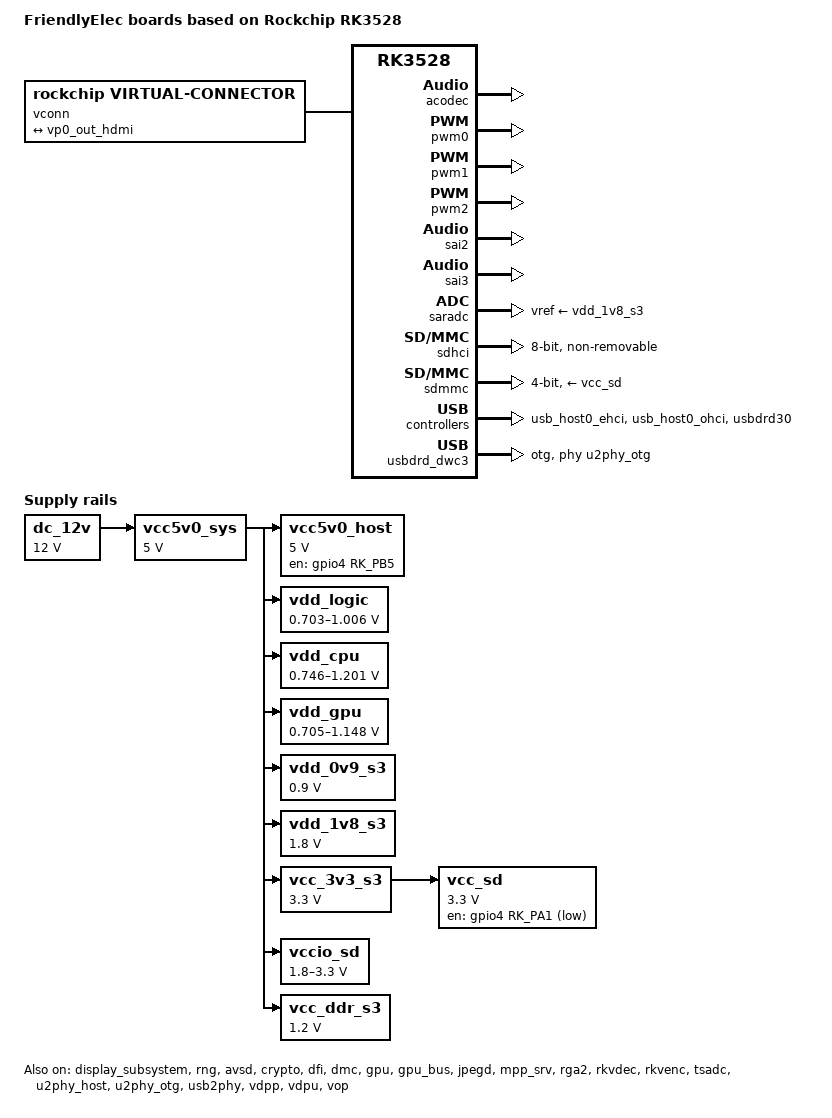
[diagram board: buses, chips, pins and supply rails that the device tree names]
// SPDX-License-Identifier: (GPL-2.0+ OR MIT)
/*
 * Copyright (c) 2024 FriendlyElec Computer Tech. Co., Ltd.
 * (http://www.friendlyelec.com)
 *
 * Copyright (c) 2022 Rockchip Electronics Co., Ltd.
 */

#include "rk3528.dtsi"
#include <dt-bindings/gpio/gpio.h>
#include <dt-bindings/input/rk-input.h>
#include <dt-bindings/pinctrl/rockchip.h>
#include "rk-stb-ir-keymap.dtsi"

/ {
	model = "FriendlyElec boards based on Rockchip RK3528";
	compatible = "friendlyelec,nanopi-rk3528",
		     "rockchip,rk3528";

	chosen: chosen {
		bootargs = "earlycon=uart8250,mmio32,0xff9f0000 console=ttyS0,1500000";
	};

	aliases {
		mmc0 = &sdmmc;
		mmc2 = &sdhci;
	};

	mach: board {
		compatible = "friendlyelec,board";
		machine = "NANOPI-Z2";
		hwrev = <255>;
		model = "NanoPi Z2 Series";
		nvmem-cells = <&otp_id>, <&otp_cpu_version>;
		nvmem-cell-names = "id", "cpu-version";
	};

	fiq-debugger {
		compatible = "rockchip,fiq-debugger";
		rockchip,serial-id = <0>;
		rockchip,wake-irq = <0>;
		/* If enable uart uses irq instead of fiq */
		rockchip,irq-mode-enable = <1>;
		rockchip,baudrate = <1500000>;  /* Only 115200 and 1500000 */
		interrupts = <GIC_SPI 186 IRQ_TYPE_LEVEL_HIGH>;
		pinctrl-names = "default";
		pinctrl-0 = <&uart0m0_xfer>;
		status = "okay";
	};

	firmware {
		optee {
			compatible = "linaro,optee-tz";
			method = "smc";
		};
	};

	reserved_memory: reserved-memory {
		#address-cells = <2>;
		#size-cells = <2>;
		ranges;

		drm_logo: drm-logo@0 {
			compatible = "rockchip,drm-logo";
			reg = <0x0 0x0 0x0 0x0>;
		};

		drm_cubic_lut: drm-cubic-lut@0 {
			compatible = "rockchip,drm-cubic-lut";
			reg = <0x0 0x0 0x0 0x0>;
		};

		ramoops: ramoops@110000 {
			compatible = "ramoops";
			/* 0x110000 to 0x1f0000 is for ramoops */
			reg = <0x0 0x110000 0x0 0xe0000>;
			boot-log-size = <0x8000>;	/* do not change */
			boot-log-count = <0x1>;		/* do not change */
			console-size = <0x80000>;
			pmsg-size = <0x30000>;
			ftrace-size = <0x00000>;
			record-size = <0x14000>;
		};
	};

	acodec_sound: acodec-sound {
		status = "okay";
		compatible = "simple-audio-card";
		simple-audio-card,name = "rk3528-acodec";
		simple-audio-card,format = "i2s";
		simple-audio-card,mclk-fs = <256>;
		simple-audio-card,cpu {
			sound-dai = <&sai2>;
		};
		simple-audio-card,codec {
			sound-dai = <&acodec>;
		};
	};

	bt_sco: bt-sco {
		status = "disabled";
		compatible = "delta,dfbmcs320";
		#sound-dai-cells = <1>;
	};

	bt_sound: bt-sound {
		status = "disabled";
		compatible = "simple-audio-card";
		simple-audio-card,format = "dsp_a";
		simple-audio-card,bitclock-inversion;
		simple-audio-card,mclk-fs = <256>;
		simple-audio-card,name = "rockchip,bt";
		simple-audio-card,cpu {
			sound-dai = <&sai0>;
		};
		simple-audio-card,codec {
			sound-dai = <&bt_sco 1>;
		};
	};

	dc_12v: dc-12v {
		compatible = "regulator-fixed";
		regulator-name = "dc_12v";
		regulator-always-on;
		regulator-boot-on;
		regulator-min-microvolt = <12000000>;
		regulator-max-microvolt = <12000000>;
	};

	hdmi_sound: hdmi-sound {
		status = "disabled";
		compatible = "rockchip,hdmi";
		rockchip,mclk-fs = <128>;
		rockchip,card-name = "rockchip,hdmi";
		rockchip,cpu = <&sai3>;
		rockchip,codec = <&hdmi>;
		rockchip,jack-det;
	};

	pdmics: dummy-codec {
		status = "disabled";
		compatible = "rockchip,dummy-codec";
		#sound-dai-cells = <0>;
	};

	pdm_mic_array: pdm-mic-array {
		status = "disabled";
		compatible = "simple-audio-card";
		simple-audio-card,name = "rockchip,pdm-mic-array";
		simple-audio-card,cpu {
			sound-dai = <&pdm>;
		};
		simple-audio-card,codec {
			sound-dai = <&pdmics>;
		};
	};

	spdif-sound {
		status = "disabled";
		compatible = "simple-audio-card";
		simple-audio-card,name = "ROCKCHIP,SPDIF";
		simple-audio-card,mclk-fs = <128>;
		simple-audio-card,cpu {
			sound-dai = <&spdif_8ch>;
		};
		simple-audio-card,codec {
			sound-dai = <&spdif_out>;
		};
	};

	spdif_out: spdif-out {
		status = "disabled";
		compatible = "linux,spdif-dit";
		#sound-dai-cells = <0>;
	};

	vcc5v0_sys: vcc5v0-sys {
		compatible = "regulator-fixed";
		regulator-name = "vcc5v0_sys";
		regulator-always-on;
		regulator-boot-on;
		regulator-min-microvolt = <5000000>;
		regulator-max-microvolt = <5000000>;
		vin-supply = <&dc_12v>;
	};

	vcc5v0_host: vcc5v0-host-regulator {
		compatible = "regulator-fixed";
		regulator-name = "vcc5v0_host";
		regulator-min-microvolt = <5000000>;
		regulator-max-microvolt = <5000000>;
		enable-active-high;
		gpio = <&gpio4 RK_PB5 GPIO_ACTIVE_HIGH>;
		vin-supply = <&vcc5v0_sys>;
		pinctrl-names = "default";
		pinctrl-0 = <&vcc5v0_host_en>;
	};

	vdd_logic: vdd-logic {
		compatible = "pwm-regulator";
		pwms = <&pwm2 0 5000 1>;
		regulator-name = "vdd_logic";
		regulator-min-microvolt = <703000>;
		regulator-max-microvolt = <1006000>;
		regulator-init-microvolt = <900000>;
		regulator-always-on;
		regulator-boot-on;
		regulator-settling-time-up-us = <250>;
		pwm-supply = <&vcc5v0_sys>;
		status = "okay";
	};

	vdd_cpu: vdd-cpu {
		compatible = "pwm-regulator";
		pwms = <&pwm1 0 5000 1>;
		regulator-name = "vdd_cpu";
		regulator-min-microvolt = <746000>;
		regulator-max-microvolt = <1201000>;
		regulator-init-microvolt = <953000>;
		regulator-always-on;
		regulator-boot-on;
		regulator-settling-time-up-us = <250>;
		pwm-supply = <&vcc5v0_sys>;
		status = "okay";
	};

	vdd_gpu: vdd-gpu {
		compatible = "pwm-regulator";
		pwms = <&pwm0 0 5000 1>;
		regulator-name = "vdd_gpu";
		regulator-min-microvolt = <705000>;
		regulator-max-microvolt = <1148000>;
		regulator-init-microvolt = <900000>;
		regulator-always-on;
		regulator-boot-on;
		regulator-settling-time-up-us = <250>;
		pwm-supply = <&vcc5v0_sys>;
		status = "okay";
	};

	vdd_0v9_s3: vdd-0v9-s3 {
		compatible = "regulator-fixed";
		regulator-name = "vdd_0v9_s3";
		regulator-always-on;
		regulator-boot-on;
		regulator-min-microvolt = <900000>;
		regulator-max-microvolt = <900000>;
		vin-supply = <&vcc5v0_sys>;
	};

	vdd_1v8_s3: vdd-1v8-s3 {
		compatible = "regulator-fixed";
		regulator-name = "vdd_1v8_s3";
		regulator-always-on;
		regulator-boot-on;
		regulator-min-microvolt = <1800000>;
		regulator-max-microvolt = <1800000>;
		vin-supply = <&vcc5v0_sys>;
	};

	vcc_3v3_s3: vcc-3v3-s3 {
		compatible = "regulator-fixed";
		regulator-name = "vcc_3v3_s3";
		regulator-always-on;
		regulator-boot-on;
		regulator-min-microvolt = <3300000>;
		regulator-max-microvolt = <3300000>;
		vin-supply = <&vcc5v0_sys>;
	};

	/omit-if-no-ref/
	vccio_sd: vccio-sd {
		compatible = "regulator-gpio";
		regulator-name = "vccio_sd";
		regulator-min-microvolt = <1800000>;
		regulator-max-microvolt = <3300000>;
		gpios = <&gpio4 RK_PB6 GPIO_ACTIVE_LOW>;
		vin-supply = <&vcc5v0_sys>;
		states = <3300000 0x0
			  1800000 0x1>;
	};

	/omit-if-no-ref/
	vcc_sd: vcc-sd {
		compatible = "regulator-fixed";
		gpio = <&gpio4 RK_PA1 GPIO_ACTIVE_LOW>;
		regulator-name = "vcc_sd";
		regulator-boot-on;
		regulator-min-microvolt = <3300000>;
		regulator-max-microvolt = <3300000>;
		vin-supply = <&vcc_3v3_s3>;
	};

	vcc_ddr_s3: vcc-ddr-s3 {
		compatible = "regulator-fixed";
		regulator-name = "vcc_ddr_s3";
		regulator-always-on;
		regulator-boot-on;
		regulator-min-microvolt = <1200000>;
		regulator-max-microvolt = <1200000>;
		vin-supply = <&vcc5v0_sys>;
	};

	vconn {
		compatible = "rockchip,virtual-connector";
		hdmi0-enable;
		hdmi0-disconnected;
		hdmi0-vp-id = <0>;
		status = "okay";

		/* 16 - 1920x1080@60Hz 16:9 */
		hdmi0_timing {
			clock-frequency = <148500000>;
			hactive = <1920>;
			vactive = <1080>;
			hfront-porch = <88>;
			hsync-len = <44>;
			hback-porch = <148>;
			vfront-porch = <4>;
			vsync-len = <5>;
			vback-porch = <36>;
			hsync-active = <1>;
			vsync-active = <1>;
			de-active = <0>;
			pixelclk-active = <0>;
		};

		ports {
			#address-cells = <1>;
			#size-cells = <0>;

			port@0 {
				reg = <0>;
				#address-cells = <1>;
				#size-cells = <0>;

				vcon_in_vp0: endpoint@0 {
					reg = <0>;
					remote-endpoint = <&vp0_out_hdmi>;
				};
			};
		};
	};
};

&display_subsystem {
	memory-region = <&drm_logo>, <&drm_cubic_lut>;
	memory-region-names = "drm-logo", "drm-cubic-lut";
	/* devfreq = <&dmc>; */
	status = "okay";

	route {
		route_hdmi: route-hdmi {
			status = "disabled";
			logo,uboot = "logo.bmp";
			logo,kernel = "logo_kernel.bmp";
			logo,mode = "center";
			charge_logo,mode = "center";
			connect = <&vp0_out_hdmi>;
		};
		route_tve: route-tve {
			status = "disabled";
			logo,uboot = "logo.bmp";
			logo,kernel = "logo_kernel.bmp";
			logo,mode = "center";
			charge_logo,mode = "center";
			connect = <&vp1_out_tve>;
		};
	};
};

&rng {
	status = "okay";
};

&acodec {
	pa-ctl-gpios = <&gpio0 RK_PA0 GPIO_ACTIVE_HIGH>;
	status = "okay";
};

&avsd {
	status = "okay";
};

&cpu0 {
	cpu-supply = <&vdd_cpu>;
};

&crypto {
	status = "okay";
};

&dfi {
	status = "okay";
};

&dmc {
	center-supply = <&vdd_logic>;
	status = "okay";
};

&gmac0 {
	status = "disabled";
};

&gmac1 {
	status = "disabled";
};

&gpu {
	mali-supply = <&vdd_gpu>;
	status = "okay";
};

&gpu_bus {
	bus-supply = <&vdd_logic>;
	status = "okay";
};

&hdmi {
	status = "disabled";
};

&hdmi_in_vp0 {
	status = "disabled";
	/delete-property/ remote-endpoint;
};

&hdmiphy {
	status = "disabled";
};

&iep {
	status = "disabled";
};

&iep_mmu {
	status = "disabled";
};

&jpegd {
	status = "okay";
};

&jpegd_mmu {
	status = "okay";
};

&mpp_srv {
	status = "okay";
};

&pinctrl {
	usb {
		vcc5v0_host_en: vcc5v0-host-en {
			rockchip,pins = <4 RK_PB5 RK_FUNC_GPIO &pcfg_pull_none>;
		};
	};
};

&pwm0 {
	status = "okay";
};

&pwm1 {
	status = "okay";
};

&pwm2 {
	status = "okay";
};

&pwm3 {
	compatible = "rockchip,remotectl-pwm";
	pinctrl-names = "default";
	pinctrl-0 = <&pwm3m0_pins>;
	remote_pwm_id = <3>;
	handle_cpu_id = <1>;
	remote_support_psci = <0>;
	status = "disabled";
};

&rga2 {
	status = "okay";
};

&rga2_mmu {
	status = "okay";
};

&rkvdec {
	status = "okay";
};

&rkvdec_mmu {
	status = "okay";
};

&rkvenc {
	status = "okay";
};

&rkvenc_mmu {
	status = "okay";
};

&rmii0_phy {
	/delete-property/ pinctrl-names;
	/delete-property/ pinctrl-0;
};

&rockchip_suspend {
	status = "okay";
	rockchip,sleep-debug-en = <0>;
	rockchip,virtual-poweroff = <1>;
	rockchip,sleep-mode-config = <
		(0
		| RKPM_SLP_ARMPD
		)
	>;
	rockchip,wakeup-config = <
		(0
		| RKPM_CPU0_WKUP_EN
		| RKPM_GPIO_WKUP_EN
		)
	>;
	rockchip,pwm-regulator-config = <
		(0
		| RKPM_PWM0_M0_REGULATOR_EN
		| RKPM_PWM1_M0_REGULATOR_EN
		)
	>;
};

&sai0 {
	pinctrl-0 = <&i2s0m0_lrck &i2s0m0_sclk &i2s0m0_sdi &i2s0m0_sdo>;
	status = "disabled";
};

&sai2 {
	status = "okay";
};

&sai3 {
	status = "okay";
};

&saradc {
	status = "okay";
	vref-supply = <&vdd_1v8_s3>;
};

&sdhci {
	bus-width = <8>;
	no-sd;
	no-sdio;
	non-removable;
	mmc-hs400-1_8v;
	mmc-hs400-enhanced-strobe;
	max-frequency = <200000000>;
	status = "okay";
};

&sdmmc {
	bus-width = <4>;
	cap-mmc-highspeed;
	cap-sd-highspeed;
	disable-wp;
	max-frequency = <150000000>;
	pinctrl-names = "default";
	pinctrl-0 = <&sdmmc_clk &sdmmc_cmd &sdmmc_det &sdmmc_bus4>;
	rockchip,default-sample-phase = <90>;
	supports-sd;
	sd-uhs-sdr12;
	sd-uhs-sdr25;
	sd-uhs-sdr50;
	sd-uhs-sdr104;
	vqmmc-supply = <&vccio_sd>;
	vmmc-supply = <&vcc_sd>;
	status = "okay";
};

&spdif_8ch {
	status = "disabled";
};

&tsadc {
	status = "okay";
};

&tve {
	status = "disabled";
};

&tve_in_vp1 {
	status = "disabled";
};

&u2phy_host {
	phy-supply = <&vcc5v0_host>;
	status = "okay";
};

&u2phy_otg {
	status = "okay";
};

&usb2phy {
	status = "okay";
};

&usb_host0_ehci {
	status = "okay";
};

&usb_host0_ohci {
	status = "okay";
};

&usbdrd30 {
	status = "okay";
};

&usbdrd_dwc3 {
	dr_mode = "otg";
	maximum-speed = "high-speed";
	extcon = <&usb2phy>;
	phys = <&u2phy_otg>;
	phy-names = "usb2-phy";
	snps,dis_u2_susphy_quirk;
	snps,usb2-lpm-disable;
	status = "okay";
};

&vdpp {
	status = "okay";
};

&vdpu {
	status = "okay";
};

&vdpu_mmu {
	status = "okay";
};

&vop {
	/delete-property/ assigned-clocks;
	/delete-property/ assigned-clock-parents;
	status = "okay";
};

&vop_mmu {
	status = "okay";
};

&vp0_out_hdmi {
	remote-endpoint = <&vcon_in_vp0>;
};
